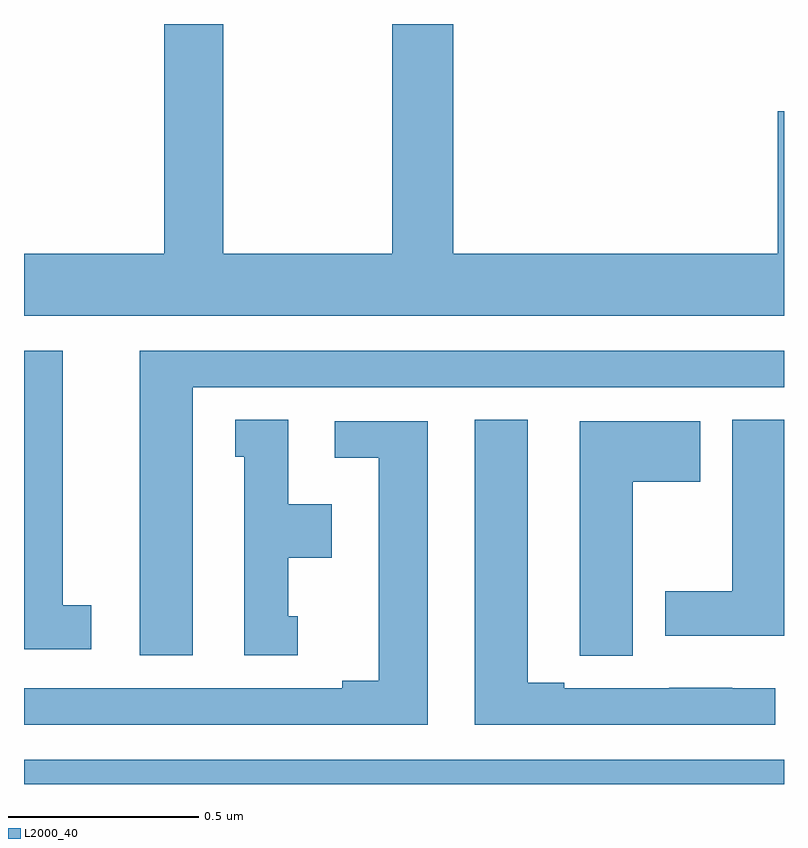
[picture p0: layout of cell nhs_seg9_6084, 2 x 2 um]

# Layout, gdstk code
import gdstk
lib = gdstk.Library(unit=1e-6, precision=1e-09)
def R(c, l, rs):  # rectangles x0, y0, x1, y1
    for r in rs: c.add(gdstk.rectangle(r[:2], r[2:], *l))
def P(c, l, *ps):  # polygons
    for p in ps: c.add(gdstk.Polygon(p, *l))
L2000_40 = (2000, 40)

nhs_seg9_6084 = lib.new_cell('nhs_seg9_6084')
R(nhs_seg9_6084, L2000_40, [(187,1216.5,189,1216.564)])
P(nhs_seg9_6084, L2000_40, [(189,1218.271),(188.984,1218.271),(188.984,1217.896),(188.129,1217.896),(188.129,1218.5),(187.969,1218.5),(187.969,1217.896),(187.524,1217.896),(187.524,1218.5),(187.369,1218.5),(187.369,1217.896),(187,1217.896),(187,1217.732),(189,1217.732)],
  [(187.444,1217.544),(189,1217.544),(189,1217.64),(187.304,1217.64),(187.304,1216.839),(187.444,1216.839)],
  [(187.177,1216.97),(187.102,1216.97),(187.102,1217.64),(187,1217.64),(187,1216.854),(187.177,1216.854)],
  [(189,1217.459),(188.864,1217.459),(188.864,1217.007),(188.687,1217.007),(188.687,1216.89),(189,1216.89)],
  [(188.977,1216.752),(188.864,1216.752),(188.864,1216.753),(188.698,1216.753),(188.698,1216.752),(188.422,1216.752),(188.422,1216.767),(188.326,1216.767),(188.326,1217.459),(188.186,1217.459),(188.186,1216.656),(188.977,1216.656)],
  [(187.72,1216.941),(187.696,1216.941),(187.696,1217.096),(187.81,1217.096),(187.81,1217.236),(187.696,1217.236),(187.696,1217.459),(187.556,1217.459),(187.556,1217.361),(187.58,1217.361),(187.58,1216.839),(187.72,1216.839)],
  [(188.602,1217.296),(188.779,1217.296),(188.779,1217.455),(188.462,1217.455),(188.462,1216.945),(188.463,1216.945),(188.463,1216.837),(188.602,1216.837)],
  [(188.062,1217.454),(187.818,1217.454),(187.818,1217.358),(187.934,1217.358),(187.934,1216.772),(187.838,1216.772),(187.838,1216.752),(187,1216.752),(187,1216.656),(188.062,1216.656)])

lib.write_gds('nhs_seg9_6084.gds')
